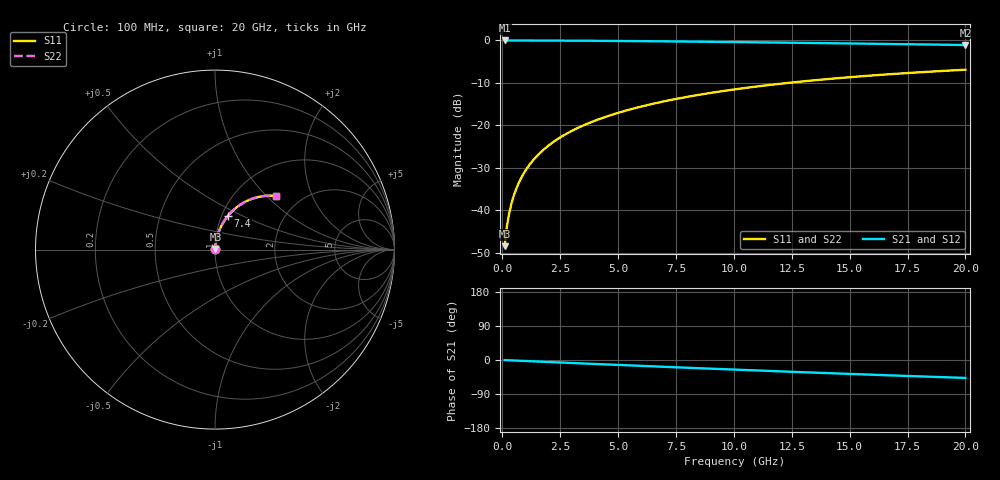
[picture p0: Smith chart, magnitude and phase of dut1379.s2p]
! Touchstone file exported from HFSS 2026.1.0
!  File:  C:/ffzhzh/LocalFiles/Ansys_Project_Files/temp_train_TMRDL_1379_1783166007_51560.aedt
!  Generated:  07:54:53 PM Jul  4, 2026
!  Design:  TMRDL
!  Project:  temp_train_TMRDL_1379_1783166007_51560
! Variables:
!  h_bsmrdl = 2um
!  h_ox = 20um
!  h_rdl = 5um
!  h_sub = 80um
!  h_tmrdl = 5.36um
!  h_tsv = 80um
!  h_via = 3um
!  l_bsmrdl = 300um
!  l_sub = 1084.43um
!  l_tmrdl = 684.43um
!  m_sub = 200um
!  pitch = 58.69um
!  r_tsv = 6um
!  s_tmrdl = 10um
!  w_bsmrdl = 18um
!  w_sub = 500um
!  w_tmrdl = 22.08um
!  x_tsv_center1 = 695.47um
!  x_tsv_center2 = 1013.47um
!  x_tsv_center3 = 1719.98um
!  x_tsv_center4 = 2037.98um
!  x_tsv_center5 = 2744.49um
!  x_tsv_center6 = 3062.49um
# GHz S MA R 50.000000
! Terminal data exported
! Port[1] = TM_RDL1_1_T1
! Port[2] = TM_RDL1_1_T2
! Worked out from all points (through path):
!   200 points, 100 MHz to 20 GHz, reference 50 ohm
!   highest |S21| = -0.02 dB at 100 MHz (marker M1); lowest = -1.1 dB at 20 GHz (marker M2)
!   group delay of S21, straight-line fit = 6.58 ps
!   lowest |S11| = -48.4 dB at 100 MHz (marker M3), VSWR 1.01, Z = 50.2 + j0.31 ohm
!   |S11| at or under -10 dB: start of sweep to 12.35 GHz
!   |S22| runs from -48.4 to -6.9 dB; largest |S21 - S12| = 6.7e-15
!   S11 on the Smith chart (normalised r, x): 100 MHz: 1.00, +0.01; 7.4 GHz: 1.07, +0.42; 20 GHz: 1.51, +1.13
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0.1  0.003799 54.3  0.9978 -0.3  0.9978 -0.3  0.003799 54.3
! Gamma 0 0 0 0
! Port Impedance 50 0 50 0
0.2  0.006526 68.5  0.9976 -0.5  0.9976 -0.5  0.006526 68.5
0.3  0.009344 74.0  0.9975 -0.8  0.9975 -0.8  0.009344 74.0
0.4  0.01218 76.9  0.9974 -1.1  0.9974 -1.1  0.01218 76.9
0.5  0.01503 78.7  0.9973 -1.3  0.9973 -1.3  0.01503 78.7
0.7  0.02076 80.6  0.9971 -1.9  0.9971 -1.9  0.02076 80.6
0.8  0.02363 81.2  0.997 -2.1  0.997 -2.1  0.02363 81.2
1  0.02939 81.8  0.9967 -2.7  0.9967 -2.7  0.02939 81.8
1.2  0.03514 82.0  0.9964 -3.2  0.9964 -3.2  0.03514 82.0
1.4  0.04089 81.9  0.9961 -3.7  0.9961 -3.7  0.04089 81.9
1.7  0.04948 81.7  0.9955 -4.5  0.9955 -4.5  0.04948 81.7
2  0.05803 81.2  0.9948 -5.3  0.9948 -5.3  0.05803 81.2
2.7  0.07778 79.9  0.9929 -7.1  0.9929 -7.1  0.07778 79.9
3.5  0.09996 78.1  0.9903 -9.2  0.9903 -9.2  0.09996 78.1
4.2  0.119 76.5  0.9876 -11.0  0.9876 -11.0  0.119 76.5
5  0.1404 74.6  0.9842 -13.0  0.9842 -13.0  0.1404 74.6
6.8  0.1871 70.3  0.9754 -17.5  0.9754 -17.5  0.1871 70.4
7.4  0.2022 68.9  0.9721 -19.0  0.9721 -19.0  0.2022 68.9
10.1  0.2668 62.7  0.9554 -25.5  0.9554 -25.5  0.2668 62.7
13.4  0.3378 55.3  0.932 -33.2  0.932 -33.2  0.3378 55.3
16.7  0.3995 48.2  0.907 -40.4  0.907 -40.4  0.3995 48.2
20  0.4517 41.4  0.8822 -47.3  0.8822 -47.3  0.4517 41.5
